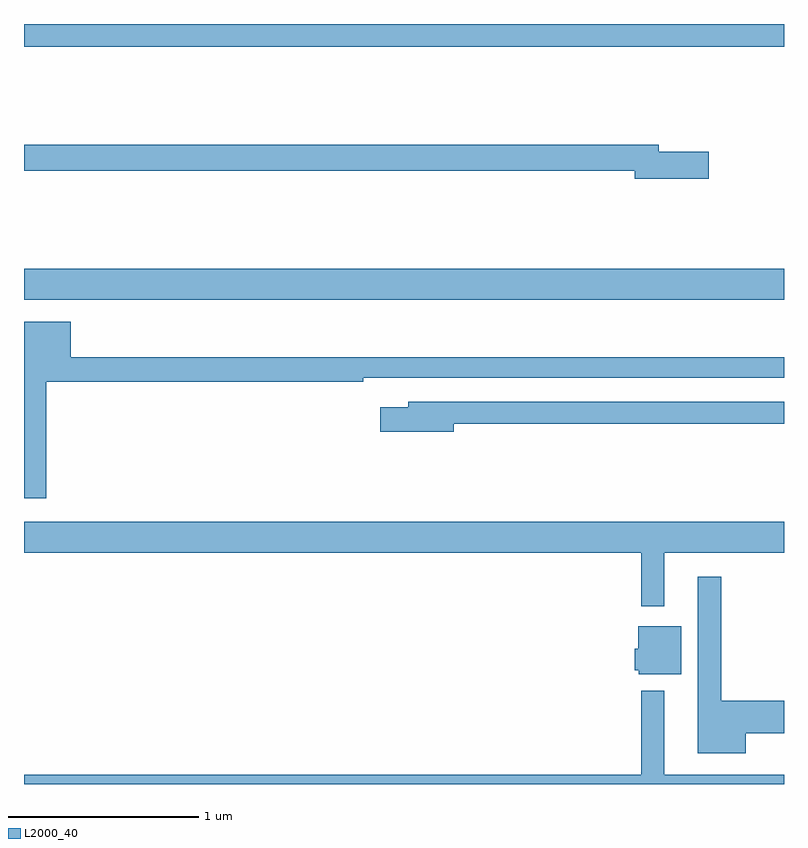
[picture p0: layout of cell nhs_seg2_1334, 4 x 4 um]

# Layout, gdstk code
import gdstk
lib = gdstk.Library(unit=1e-6, precision=1e-09)
def R(c, l, rs):  # rectangles x0, y0, x1, y1
    for r in rs: c.add(gdstk.rectangle(r[:2], r[2:], *l))
def P(c, l, *ps):  # polygons
    for p in ps: c.add(gdstk.Polygon(p, *l))
L2000_40 = (2000, 40)

nhs_seg2_1334 = lib.new_cell('nhs_seg2_1334')
R(nhs_seg2_1334, L2000_40, [(181,602.348,185,602.512), (181,603.68,185,603.8)])
P(nhs_seg2_1334, L2000_40, [(184.603,603.128),(184.342,603.128),(184.342,603.164),(181,603.164),(181,603.028),(184.214,603.028),(184.214,602.986),(184.603,602.986)],
  [(181.117,601.918),(182.786,601.918),(182.786,601.938),(185,601.938),(185,602.047),(181.246,602.047),(181.246,602.233),(181,602.233),(181,601.305),(181.117,601.305)],
  [(183.262,601.696),(185,601.696),(185,601.812),(183.023,601.812),(183.023,601.783),(182.874,601.783),(182.874,601.654),(183.262,601.654)],
  [(184.369,601.016),(185,601.016),(185,601.18),(181,601.18),(181,601.016),(184.248,601.016),(184.248,600.735),(184.369,600.735)],
  [(184.798,600.068),(185,600.068),(185,600.239),(184.669,600.239),(184.669,600.892),(184.547,600.892),(184.547,599.963),(184.798,599.963)],
  [(184.459,600.631),(184.232,600.631),(184.232,600.513),(184.214,600.513),(184.214,600.399),(184.236,600.399),(184.236,600.377),(184.459,600.377)],
  [(185,599.848),(184.369,599.848),(184.369,600.292),(184.248,600.292),(184.248,599.848),(181,599.848),(181,599.8),(185,599.8)])

lib.write_gds('nhs_seg2_1334.gds')
